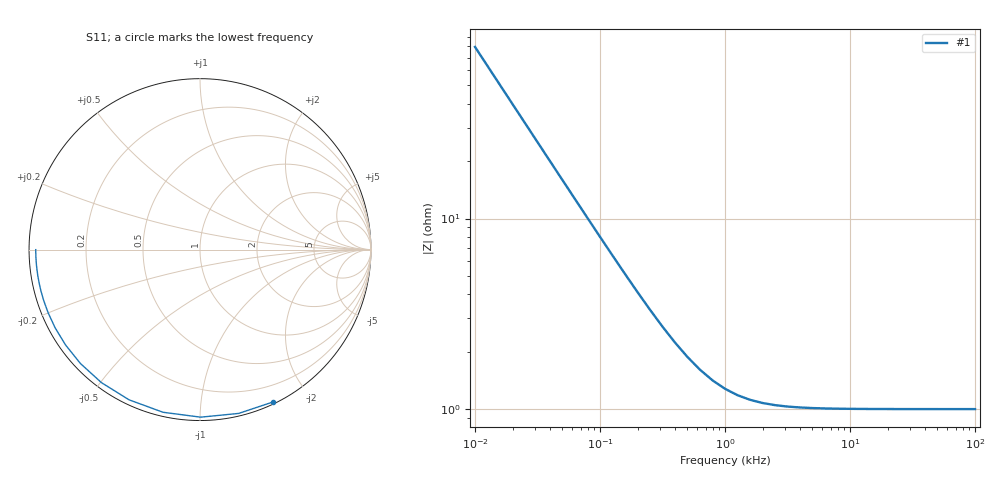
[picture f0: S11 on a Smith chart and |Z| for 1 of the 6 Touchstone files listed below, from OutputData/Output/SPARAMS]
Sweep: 10 Hz to 100 kHz
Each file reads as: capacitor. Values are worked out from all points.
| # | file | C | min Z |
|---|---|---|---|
| 1 | multi-parameter.cir.zparams.s1p | 200 uF | 1 ohm |
| 2 | yparams-ts1-1port.cir.db.s1p | 200 uF | 1 ohm |
| 3 | yparams-ts1-1port.cir.ma.s1p | 200 uF | 1 ohm |
| 4 | yparams-ts1-1port.cir.s1p | 200 uF | 1 ohm |
| 5 | zparams-ts1-1port.cir.db.s1p | 200 uF | 1 ohm |
| 6 | zparams-ts1-1port.cir.ma.s1p | 200 uF | 1 ohm |
